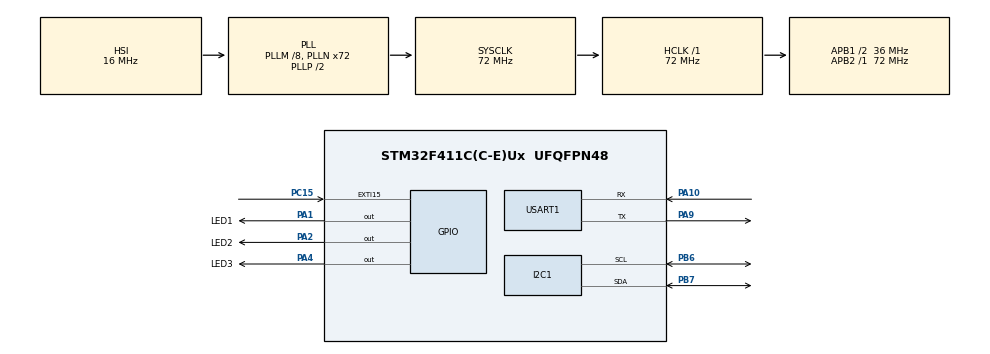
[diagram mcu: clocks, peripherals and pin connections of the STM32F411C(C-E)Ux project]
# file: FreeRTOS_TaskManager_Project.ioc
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FREERTOS.Tasks01=defaultTask,24,128,StartDefaultTask,Default,NULL,Dynamic,NULL,NULL
FREERTOS.configUSE_NEWLIB_REENTRANT=1
Mcu.Family=STM32F4
Mcu.Name=STM32F411C(C-E)Ux
Mcu.Package=UFQFPN48
NVIC.EXTI15_10_IRQn=true\:5\:0\:false\:false\:true\:true\:true\:true\:true
NVIC.PriorityGroup=NVIC_PRIORITYGROUP_4
NVIC.TIM1_UP_TIM10_IRQn=true\:15\:0\:false\:false\:true\:false\:false\:true\:true
NVIC.TimeBase=TIM1_UP_TIM10_IRQn
NVIC.TimeBaseIP=TIM1
PA1.GPIO_Label=LED1
PA1.Signal=GPIO_Output
PA10.Mode=Asynchronous
PA10.Signal=USART1_RX
PA13.Mode=Serial_Wire
PA13.Signal=SYS_JTMS-SWDIO
PA14.Mode=Serial_Wire
PA14.Signal=SYS_JTCK-SWCLK
PA2.GPIO_Label=LED2
PA2.Signal=GPIO_Output
PA4.GPIO_Label=LED3
PA4.Signal=GPIO_Output
PA9.Mode=Asynchronous
PA9.Signal=USART1_TX
PB6.Mode=I2C
PB6.Signal=I2C1_SCL
PB7.Mode=I2C
PB7.Signal=I2C1_SDA
PC15-OSC32_OUT.GPIO_PuPd=GPIO_PULLDOWN
PC15-OSC32_OUT.Signal=GPXTI15
ProjectManager.HeapSize=0x200
ProjectManager.StackSize=0x400
ProjectManager.TargetToolchain=STM32CubeIDE
RCC.48MHZClocksFreq_Value=36000000
RCC.AHBFreq_Value=72000000
RCC.APB1CLKDivider=RCC_HCLK_DIV2
RCC.APB1Freq_Value=36000000
RCC.APB1TimFreq_Value=72000000
RCC.APB2Freq_Value=72000000
RCC.APB2TimFreq_Value=72000000
RCC.CortexFreq_Value=72000000
RCC.HCLKFreq_Value=72000000
RCC.HSE_VALUE=25000000
RCC.HSI_VALUE=16000000
RCC.LSE_VALUE=32768
RCC.PLLM=8
RCC.PLLN=72
RCC.SYSCLKFreq_VALUE=72000000
RCC.SYSCLKSource=RCC_SYSCLKSOURCE_PLLCLK
RCC.VCOOutputFreq_Value=144000000
RTC.Date=10
RTC.Hours=21
RTC.Minutes=30
RTC.Month=RTC_MONTH_OCTOBER
RTC.WeekDay=RTC_WEEKDAY_THURSDAY
RTC.Year=25
USART1.VirtualMode=VM_ASYNC
VP_FREERTOS_VS_CMSIS_V2.Mode=CMSIS_V2
VP_RTC_VS_RTC_Activate.Mode=RTC_Enabled
VP_RTC_VS_RTC_Calendar.Mode=RTC_Calendar
VP_SYS_VS_tim1.Mode=TIM1
board=custom

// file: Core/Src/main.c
/* USER CODE BEGIN Header */
/**
 ******************************************************************************
 * @file           : main.c
 * @brief          : Main program body
 ******************************************************************************
 * @attention
 *
 * Copyright (c) 2025 STMicroelectronics.
 * All rights reserved.
 *
 * This software is licensed under terms that can be found in the LICENSE file
 * in the root directory of this software component.
 * If no LICENSE file comes with this software, it is provided AS-IS.
 *
 ******************************************************************************
 */
/* USER CODE END Header */
#include "main.h"
#include "cmsis_os.h"

/* USER CODE BEGIN Includes */
#include "FreeRTOS.h"
#include "task.h"
#include "queue.h"
#include "semphr.h"
#include "packet.h"
/* USER CODE END Includes */

I2C_HandleTypeDef hi2c1;

RTC_HandleTypeDef hrtc;

UART_HandleTypeDef huart1;

SemaphoreHandle_t xSemaphore_Button;

/* Definitions for defaultTask */
void HAL_GPIO_EXTI_Callback(uint16_t GPIO_Pin) {
    if (GPIO_Pin == GPIO_PIN_15) {
        BaseType_t xHigherPriorityTaskWoken = pdFALSE;
        xSemaphoreGiveFromISR(xSemaphore_Button, &xHigherPriorityTaskWoken);
        portYIELD_FROM_ISR(xHigherPriorityTaskWoken);
    }
}

/* USER CODE BEGIN PV */

QueueHandle_t xQueue_SensorData;
QueueHandle_t xQueue_Events;

void TaskSensor(void *pvParameters);
void TaskButton(void *pvParameters);
void TaskUart(void *pvParameters);
void TaskLed(void *pvParameters);

/* USER CODE END PV */

void SystemClock_Config(void);
static void MX_GPIO_Init(void);
static void MX_I2C1_Init(void);
static void MX_USART1_UART_Init(void);
static void MX_RTC_Init(void);
void StartDefaultTask(void *argument);

/* USER CODE BEGIN 0 */
SemaphoreHandle_t xSemaphore_Button;
SemaphoreHandle_t xMutex_I2C;

/* USER CODE END 0 */

int main(void)
{

  /* MCU Configuration--------------------------------------------------------*/

  /* Reset of all peripherals, Initializes the Flash interface and the Systick. */
  HAL_Init();

  /* Configure the system clock */
  SystemClock_Config();

  /* Initialize all configured peripherals */
  MX_GPIO_Init();
  MX_I2C1_Init();
  MX_USART1_UART_Init();
  MX_RTC_Init();
  /* USER CODE BEGIN 2 */

	xQueue_SensorData = xQueueCreate(10, sizeof(sensorData_t));
	if (xQueue_SensorData == NULL) {
		char err[] = "Queue is not created\r\n";
		HAL_UART_Transmit(&huart1, (uint8_t*) err, sizeof(err), HAL_MAX_DELAY);
		while (1)
			;  //lock
	}

	xQueue_Events = xQueueCreate(10, sizeof(Event_t));
	xSemaphore_Button = xSemaphoreCreateBinary();
	xMutex_I2C = xSemaphoreCreateMutex();

	xTaskCreate(TaskSensor, "Sensor", 256, NULL, 4, NULL);
	xTaskCreate(TaskButton, "Button", 256, NULL, 3, NULL);
	xTaskCreate(TaskUart, "UART", 256, NULL, 2, NULL);
	xTaskCreate(TaskLed, "LED", 128, NULL, 1, NULL);

	vTaskStartScheduler();

  /* USER CODE END 2 */

  /* Init scheduler */

  /* Create the thread(s) */
  /* creation of defaultTask */
  //defaultTaskHandle = osThreadNew(StartDefaultTask, NULL, &defaultTask_attributes);

  /* Start scheduler */
  //osKernelStart();

  /* We should never get here as control is now taken by the scheduler */

  /* Infinite loop */
	while (1) {

	}
}

void SystemClock_Config(void)
{
  RCC_OscInitTypeDef RCC_OscInitStruct = {0};
  RCC_ClkInitTypeDef RCC_ClkInitStruct = {0};

  /** Configure the main internal regulator output voltage
  */
  __HAL_RCC_PWR_CLK_ENABLE();
  __HAL_PWR_VOLTAGESCALING_CONFIG(PWR_REGULATOR_VOLTAGE_SCALE1);

  /** Initializes the RCC Oscillators according to the specified parameters
  * in the RCC_OscInitTypeDef structure.
  */
  RCC_OscInitStruct.OscillatorType = RCC_OSCILLATORTYPE_HSI|RCC_OSCILLATORTYPE_LSI;
  RCC_OscInitStruct.HSIState = RCC_HSI_ON;
  RCC_OscInitStruct.HSICalibrationValue = RCC_HSICALIBRATION_DEFAULT;
  RCC_OscInitStruct.LSIState = RCC_LSI_ON;
  RCC_OscInitStruct.PLL.PLLState = RCC_PLL_ON;
  RCC_OscInitStruct.PLL.PLLSource = RCC_PLLSOURCE_HSI;
  RCC_OscInitStruct.PLL.PLLM = 8;
  RCC_OscInitStruct.PLL.PLLN = 72;
  RCC_OscInitStruct.PLL.PLLP = RCC_PLLP_DIV2;
  RCC_OscInitStruct.PLL.PLLQ = 4;
  if (HAL_RCC_OscConfig(&RCC_OscInitStruct) != HAL_OK)
  {
    Error_Handler();
  }

  /** Initializes the CPU, AHB and APB buses clocks
  */
  RCC_ClkInitStruct.ClockType = RCC_CLOCKTYPE_HCLK|RCC_CLOCKTYPE_SYSCLK
                              |RCC_CLOCKTYPE_PCLK1|RCC_CLOCKTYPE_PCLK2;
  RCC_ClkInitStruct.SYSCLKSource = RCC_SYSCLKSOURCE_PLLCLK;
  RCC_ClkInitStruct.AHBCLKDivider = RCC_SYSCLK_DIV1;
  RCC_ClkInitStruct.APB1CLKDivider = RCC_HCLK_DIV2;
  RCC_ClkInitStruct.APB2CLKDivider = RCC_HCLK_DIV1;

  if (HAL_RCC_ClockConfig(&RCC_ClkInitStruct, FLASH_LATENCY_2) != HAL_OK)
  {
    Error_Handler();
  }
}

static void MX_I2C1_Init(void)
{

  hi2c1.Instance = I2C1;
  hi2c1.Init.ClockSpeed = 100000;
  hi2c1.Init.DutyCycle = I2C_DUTYCYCLE_2;
  hi2c1.Init.OwnAddress1 = 0;
  hi2c1.Init.AddressingMode = I2C_ADDRESSINGMODE_7BIT;
  hi2c1.Init.DualAddressMode = I2C_DUALADDRESS_DISABLE;
  hi2c1.Init.OwnAddress2 = 0;
  hi2c1.Init.GeneralCallMode = I2C_GENERALCALL_DISABLE;
  hi2c1.Init.NoStretchMode = I2C_NOSTRETCH_DISABLE;
  if (HAL_I2C_Init(&hi2c1) != HAL_OK)
  {
    Error_Handler();
  }

}

static void MX_RTC_Init(void)
{

  RTC_TimeTypeDef sTime = {0};
  RTC_DateTypeDef sDate = {0};

  /** Initialize RTC Only
  */
  hrtc.Instance = RTC;
  hrtc.Init.HourFormat = RTC_HOURFORMAT_24;
  hrtc.Init.AsynchPrediv = 127;
  hrtc.Init.SynchPrediv = 255;
  hrtc.Init.OutPut = RTC_OUTPUT_DISABLE;
  hrtc.Init.OutPutPolarity = RTC_OUTPUT_POLARITY_HIGH;
  hrtc.Init.OutPutType = RTC_OUTPUT_TYPE_OPENDRAIN;
  if (HAL_RTC_Init(&hrtc) != HAL_OK)
  {
    Error_Handler();
  }

  /** Initialize RTC and set the Time and Date
  */
  sTime.Hours = 0x21;
  sTime.Minutes = 0x30;
  sTime.Seconds = 0x0;
  sTime.DayLightSaving = RTC_DAYLIGHTSAVING_NONE;
  sTime.StoreOperation = RTC_STOREOPERATION_RESET;
  if (HAL_RTC_SetTime(&hrtc, &sTime, RTC_FORMAT_BCD) != HAL_OK)
  {
    Error_Handler();
  }
  sDate.WeekDay = RTC_WEEKDAY_THURSDAY;
  sDate.Month = RTC_MONTH_OCTOBER;
  sDate.Date = 0x10;
  sDate.Year = 0x25;

  if (HAL_RTC_SetDate(&hrtc, &sDate, RTC_FORMAT_BCD) != HAL_OK)
  {
    Error_Handler();
  }

}

static void MX_USART1_UART_Init(void)
{

  huart1.Instance = USART1;
  huart1.Init.BaudRate = 115200;
  huart1.Init.WordLength = UART_WORDLENGTH_8B;
  huart1.Init.StopBits = UART_STOPBITS_1;
  huart1.Init.Parity = UART_PARITY_NONE;
  huart1.Init.Mode = UART_MODE_TX_RX;
  huart1.Init.HwFlowCtl = UART_HWCONTROL_NONE;
  huart1.Init.OverSampling = UART_OVERSAMPLING_16;
  if (HAL_UART_Init(&huart1) != HAL_OK)
  {
    Error_Handler();
  }

}

static void MX_GPIO_Init(void)
{
  GPIO_InitTypeDef GPIO_InitStruct = {0};

  /* GPIO Ports Clock Enable */
  __HAL_RCC_GPIOC_CLK_ENABLE();
  __HAL_RCC_GPIOA_CLK_ENABLE();
  __HAL_RCC_GPIOB_CLK_ENABLE();

  /*Configure GPIO pin Output Level */
  HAL_GPIO_WritePin(GPIOA, LED1_Pin|LED2_Pin|LED3_Pin, GPIO_PIN_RESET);

  /*Configure GPIO pin : PC15 */
  GPIO_InitStruct.Pin = GPIO_PIN_15;
  GPIO_InitStruct.Mode = GPIO_MODE_IT_RISING;
  GPIO_InitStruct.Pull = GPIO_PULLDOWN;
  HAL_GPIO_Init(GPIOC, &GPIO_InitStruct);

  /*Configure GPIO pins : LED1_Pin LED2_Pin LED3_Pin */
  GPIO_InitStruct.Pin = LED1_Pin|LED2_Pin|LED3_Pin;
  GPIO_InitStruct.Mode = GPIO_MODE_OUTPUT_PP;
  GPIO_InitStruct.Pull = GPIO_NOPULL;
  GPIO_InitStruct.Speed = GPIO_SPEED_FREQ_LOW;
  HAL_GPIO_Init(GPIOA, &GPIO_InitStruct);

  /* EXTI interrupt init*/
  HAL_NVIC_SetPriority(EXTI15_10_IRQn, 5, 0);
  HAL_NVIC_EnableIRQ(EXTI15_10_IRQn);

}

/* USER CODE BEGIN 4 */

void TaskSensor(void *pvParameters) {

	char msg[] = "Task4 Running\r\n";
	for (;;) {
		HAL_UART_Transmit(&huart1, (uint8_t*) msg, sizeof(msg), HAL_MAX_DELAY);
		vTaskDelay(pdMS_TO_TICKS(2000));
	}

}
void TaskButton(void *pvParameters) {

	for (;;) {
	        if (xSemaphoreTake(xSemaphore_Button, portMAX_DELAY) == pdTRUE) {
	        	HAL_GPIO_WritePin(GPIOA, LED2_Pin, GPIO_PIN_SET); // LED2 sabit yan
	            vTaskDelay(pdMS_TO_TICKS(500));                   // 500 ms bekle
	        	HAL_GPIO_WritePin(GPIOA, LED2_Pin, GPIO_PIN_RESET); // LED2 söndür
	        }
	    }
}
void TaskUart(void *pvParameters) {

	char msg[] = "Task2 Running\r\n";
	for (;;) {

		HAL_UART_Transmit(&huart1, (uint8_t*) msg, sizeof(msg), HAL_MAX_DELAY);
		vTaskDelay(pdMS_TO_TICKS(4000));
	}
}
void TaskLed(void *pvParameters) {

		for (;;) {
			HAL_GPIO_TogglePin(GPIOA, GPIO_PIN_1);
			vTaskDelay(pdMS_TO_TICKS(500));
		}
}

/* USER CODE END 4 */

void StartDefaultTask(void *argument)
{
  for(;;)
  {
    osDelay(1);
  }
}

void HAL_TIM_PeriodElapsedCallback(TIM_HandleTypeDef *htim)
{
  if (htim->Instance == TIM1)
  {
    HAL_IncTick();
  }
}

void Error_Handler(void)
{
	__disable_irq();
	while (1) {
	}
}
